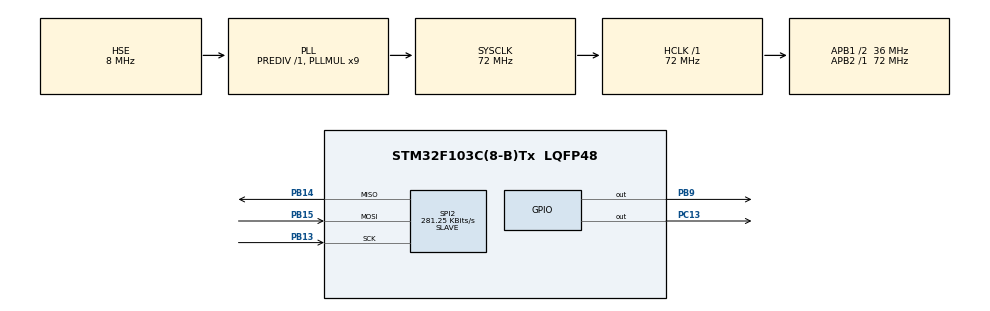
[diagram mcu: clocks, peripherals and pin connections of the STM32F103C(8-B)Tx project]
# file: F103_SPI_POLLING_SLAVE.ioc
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Mcu.Family=STM32F1
Mcu.Name=STM32F103C(8-B)Tx
Mcu.Package=LQFP48
NVIC.PriorityGroup=NVIC_PRIORITYGROUP_4
NVIC.SPI2_IRQn=true\:0\:0\:false\:false\:true\:true\:true
PA13.Mode=Serial_Wire
PA13.Signal=SYS_JTMS-SWDIO
PA14.Mode=Serial_Wire
PA14.Signal=SYS_JTCK-SWCLK
PB13.Mode=Full_Duplex_Slave
PB13.Signal=SPI2_SCK
PB14.Mode=Full_Duplex_Slave
PB14.Signal=SPI2_MISO
PB15.Mode=Full_Duplex_Slave
PB15.Signal=SPI2_MOSI
PB9.Signal=GPIO_Output
PC13-TAMPER-RTC.Signal=GPIO_Output
PD0-OSC_IN.Mode=HSE-External-Oscillator
PD0-OSC_IN.Signal=RCC_OSC_IN
PD1-OSC_OUT.Mode=HSE-External-Oscillator
PD1-OSC_OUT.Signal=RCC_OSC_OUT
ProjectManager.HeapSize=0x200
ProjectManager.StackSize=0x400
ProjectManager.TargetToolchain=STM32CubeIDE
RCC.ADCPresc=RCC_ADCPCLK2_DIV6
RCC.AHBFreq_Value=72000000
RCC.APB1CLKDivider=RCC_HCLK_DIV2
RCC.APB1Freq_Value=36000000
RCC.APB1TimFreq_Value=72000000
RCC.APB2Freq_Value=72000000
RCC.APB2TimFreq_Value=72000000
RCC.HCLKFreq_Value=72000000
RCC.PLLMUL=RCC_PLL_MUL9
RCC.PLLSourceVirtual=RCC_PLLSOURCE_HSE
RCC.SYSCLKFreq_VALUE=72000000
RCC.SYSCLKSource=RCC_SYSCLKSOURCE_PLLCLK
RCC.USBFreq_Value=72000000
SPI2.BaudRatePrescaler=SPI_BAUDRATEPRESCALER_128
SPI2.CLKPhase=SPI_PHASE_1EDGE
SPI2.CLKPolarity=SPI_POLARITY_HIGH
SPI2.CalculateBaudRate=281.25 KBits/s
SPI2.Direction=SPI_DIRECTION_2LINES
SPI2.Mode=SPI_MODE_SLAVE
SPI2.VirtualType=VM_SLAVE
board=custom

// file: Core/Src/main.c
/* USER CODE BEGIN Header */
/**
  ******************************************************************************
  * @file           : main.c
  * @brief          : Main program body
  ******************************************************************************
  * @attention
  *
  * <h2><center>&copy; Copyright (c) 2020 STMicroelectronics.
  * All rights reserved.</center></h2>
  *
  * This software component is licensed by ST under BSD 3-Clause license,
  * the "License"; You may not use this file except in compliance with the
  * License. You may obtain a copy of the License at:
  *                        opensource.org/licenses/BSD-3-Clause
  *
  ******************************************************************************
  */
/* USER CODE END Header */

#include "main.h"

SPI_HandleTypeDef hspi2;

/* USER CODE BEGIN PV */
/* Size of buffer */
#define BUFFERSIZE                       (COUNTOF(aTxBuffer) - 1)

/* Exported macro ------------------------------------------------------------*/
#define COUNTOF(__BUFFER__)   (sizeof(__BUFFER__) / sizeof(*(__BUFFER__)))
/* Exported functions ------------------------------------------------------- */

uint8_t aTxBuffer[] = "SPI SLAVE DEN CEVAP: SLAVE'DEN MESAJ ALINDI";
/* Buffer used for reception */
uint8_t aRxBuffer[43];
/* USER CODE END PV */

void SystemClock_Config(void);
static void MX_GPIO_Init(void);
static void MX_SPI2_Init(void);

int main(void)
{

  /* MCU Configuration--------------------------------------------------------*/

  /* Reset of all peripherals, Initializes the Flash interface and the Systick. */
  HAL_Init();

  /* Configure the system clock */
  SystemClock_Config();

  /* Initialize all configured peripherals */
  MX_GPIO_Init();
  MX_SPI2_Init();
  /* USER CODE BEGIN 2 */
  for(volatile uint8_t i=0;i<16;i++)
  {
	  HAL_GPIO_TogglePin(GPIOB, GPIO_PIN_9);
	  HAL_GPIO_TogglePin(GPIOC, GPIO_PIN_13);
	  HAL_Delay(100);
  }
  HAL_GPIO_WritePin(GPIOB, GPIO_PIN_9, GPIO_PIN_RESET);
  HAL_GPIO_WritePin(GPIOC, GPIO_PIN_13, GPIO_PIN_RESET);

  /* CLK sinyalinin düzgün şekilde aşağı çekilmesi için SPI gönderme / alma işlevlerini çağırmadan önce SPI bloğu etkinleştirilir.
        Aksi takdirde, SPI CLK sinyali bu kartta temiz değildir ve aktarım sırasında hatalara neden olur */

  __HAL_SPI_ENABLE(&hspi2);

  switch(HAL_SPI_TransmitReceive(&hspi2, (uint8_t*)aTxBuffer, (uint8_t *)aRxBuffer, 43, 5000))
  {
    case HAL_OK:
      HAL_GPIO_WritePin(GPIOB, GPIO_PIN_9, GPIO_PIN_SET);
      HAL_GPIO_WritePin(GPIOC, GPIO_PIN_13, GPIO_PIN_SET);
      break;

    case HAL_TIMEOUT:
        HAL_GPIO_WritePin(GPIOB, GPIO_PIN_9, GPIO_PIN_RESET);
        HAL_GPIO_WritePin(GPIOC, GPIO_PIN_13, GPIO_PIN_RESET);
    case HAL_ERROR:
        HAL_GPIO_WritePin(GPIOB, GPIO_PIN_9, GPIO_PIN_RESET);
        HAL_GPIO_WritePin(GPIOC, GPIO_PIN_13, GPIO_PIN_RESET);
      break;
    default:
      break;
  }
  /* USER CODE END 2 */

  /* Infinite loop */
  /* USER CODE BEGIN WHILE */
  while (1)
  {
	  while(HAL_SPI_GetState(&hspi2)!= HAL_SPI_STATE_READY);
	  switch(HAL_SPI_TransmitReceive(&hspi2, (uint8_t*)aTxBuffer, (uint8_t *)aRxBuffer, 43, 5000))
	  {
	    case HAL_OK:
	        HAL_GPIO_WritePin(GPIOB, GPIO_PIN_9, GPIO_PIN_SET);
	        HAL_GPIO_WritePin(GPIOC, GPIO_PIN_13, GPIO_PIN_SET);
	      break;

	    case HAL_TIMEOUT:
	        HAL_GPIO_WritePin(GPIOB, GPIO_PIN_9, GPIO_PIN_RESET);
	        HAL_GPIO_WritePin(GPIOC, GPIO_PIN_13, GPIO_PIN_RESET);
	    	break;
	    case HAL_ERROR:
	        HAL_GPIO_WritePin(GPIOB, GPIO_PIN_9, GPIO_PIN_RESET);
	        HAL_GPIO_WritePin(GPIOC, GPIO_PIN_13, GPIO_PIN_RESET);
	      break;
	    default:
	      break;
	  }
    /* USER CODE END WHILE */

  }
}

void SystemClock_Config(void)
{
  RCC_OscInitTypeDef RCC_OscInitStruct = {0};
  RCC_ClkInitTypeDef RCC_ClkInitStruct = {0};

  /** Initializes the CPU, AHB and APB busses clocks
  */
  RCC_OscInitStruct.OscillatorType = RCC_OSCILLATORTYPE_HSE;
  RCC_OscInitStruct.HSEState = RCC_HSE_ON;
  RCC_OscInitStruct.HSEPredivValue = RCC_HSE_PREDIV_DIV1;
  RCC_OscInitStruct.HSIState = RCC_HSI_ON;
  RCC_OscInitStruct.PLL.PLLState = RCC_PLL_ON;
  RCC_OscInitStruct.PLL.PLLSource = RCC_PLLSOURCE_HSE;
  RCC_OscInitStruct.PLL.PLLMUL = RCC_PLL_MUL9;
  if (HAL_RCC_OscConfig(&RCC_OscInitStruct) != HAL_OK)
  {
    Error_Handler();
  }
  /** Initializes the CPU, AHB and APB busses clocks
  */
  RCC_ClkInitStruct.ClockType = RCC_CLOCKTYPE_HCLK|RCC_CLOCKTYPE_SYSCLK
                              |RCC_CLOCKTYPE_PCLK1|RCC_CLOCKTYPE_PCLK2;
  RCC_ClkInitStruct.SYSCLKSource = RCC_SYSCLKSOURCE_PLLCLK;
  RCC_ClkInitStruct.AHBCLKDivider = RCC_SYSCLK_DIV1;
  RCC_ClkInitStruct.APB1CLKDivider = RCC_HCLK_DIV2;
  RCC_ClkInitStruct.APB2CLKDivider = RCC_HCLK_DIV1;

  if (HAL_RCC_ClockConfig(&RCC_ClkInitStruct, FLASH_LATENCY_2) != HAL_OK)
  {
    Error_Handler();
  }
}

static void MX_SPI2_Init(void)
{

  /* SPI2 parameter configuration*/
  hspi2.Instance = SPI2;
  hspi2.Init.Mode = SPI_MODE_SLAVE;
  hspi2.Init.Direction = SPI_DIRECTION_2LINES;
  hspi2.Init.DataSize = SPI_DATASIZE_8BIT;
  hspi2.Init.CLKPolarity = SPI_POLARITY_HIGH;
  hspi2.Init.CLKPhase = SPI_PHASE_1EDGE;
  hspi2.Init.NSS = SPI_NSS_SOFT;
  hspi2.Init.BaudRatePrescaler = SPI_BAUDRATEPRESCALER_128;
  hspi2.Init.FirstBit = SPI_FIRSTBIT_MSB;
  hspi2.Init.TIMode = SPI_TIMODE_DISABLE;
  hspi2.Init.CRCCalculation = SPI_CRCCALCULATION_DISABLE;
  hspi2.Init.CRCPolynomial = 10;
  if (HAL_SPI_Init(&hspi2) != HAL_OK)
  {
    Error_Handler();
  }

}

static void MX_GPIO_Init(void)
{
  GPIO_InitTypeDef GPIO_InitStruct = {0};

  /* GPIO Ports Clock Enable */
  __HAL_RCC_GPIOC_CLK_ENABLE();
  __HAL_RCC_GPIOD_CLK_ENABLE();
  __HAL_RCC_GPIOB_CLK_ENABLE();
  __HAL_RCC_GPIOA_CLK_ENABLE();

  /*Configure GPIO pin Output Level */
  HAL_GPIO_WritePin(GPIOC, GPIO_PIN_13, GPIO_PIN_RESET);

  /*Configure GPIO pin Output Level */
  HAL_GPIO_WritePin(GPIOB, GPIO_PIN_9, GPIO_PIN_RESET);

  /*Configure GPIO pin : PC13 */
  GPIO_InitStruct.Pin = GPIO_PIN_13;
  GPIO_InitStruct.Mode = GPIO_MODE_OUTPUT_PP;
  GPIO_InitStruct.Pull = GPIO_NOPULL;
  GPIO_InitStruct.Speed = GPIO_SPEED_FREQ_LOW;
  HAL_GPIO_Init(GPIOC, &GPIO_InitStruct);

  /*Configure GPIO pin : PB9 */
  GPIO_InitStruct.Pin = GPIO_PIN_9;
  GPIO_InitStruct.Mode = GPIO_MODE_OUTPUT_PP;
  GPIO_InitStruct.Pull = GPIO_NOPULL;
  GPIO_InitStruct.Speed = GPIO_SPEED_FREQ_LOW;
  HAL_GPIO_Init(GPIOB, &GPIO_InitStruct);

}

/* USER CODE BEGIN 4 */
void TimeOut_Handler(void)
{
	HAL_GPIO_TogglePin(GPIOC, GPIO_PIN_13);
	HAL_Delay(150);
}

/**
  * @brief  This function is executed in case of error occurrence.
  * @retval None
  */

/* USER CODE END 4 */

void Error_Handler(void)
{
  /* USER CODE BEGIN Error_Handler_Debug */
  /* User can add his own implementation to report the HAL error return state */
	HAL_GPIO_TogglePin(GPIOC, GPIO_PIN_13);
	HAL_Delay(500);
  /* USER CODE END Error_Handler_Debug */
}

/************************ (C) COPYRIGHT STMicroelectronics *****END OF FILE****/
